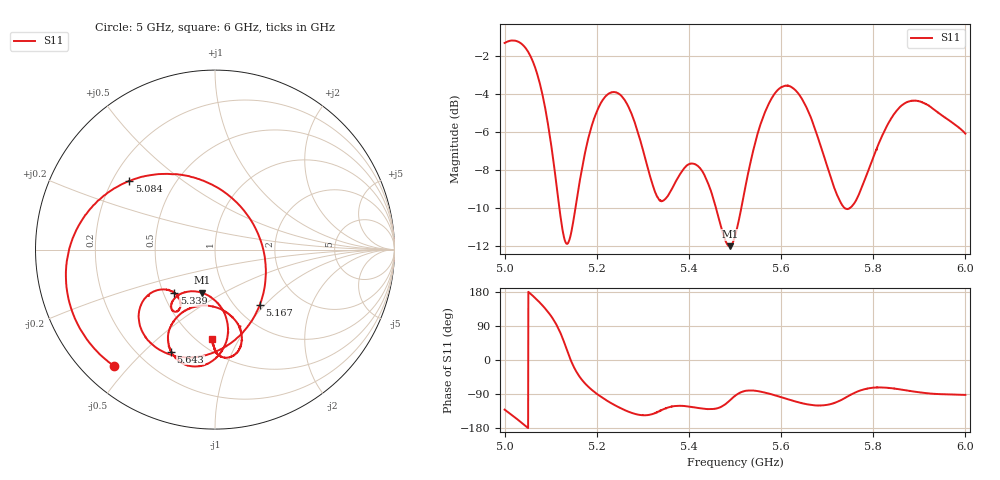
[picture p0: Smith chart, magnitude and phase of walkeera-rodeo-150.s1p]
# HZ S RI R 50
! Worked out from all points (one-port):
!   2020 points, 5 GHz to 6 GHz, reference 50 ohm
!   lowest |S11| = -12.0 dB at 5.489 GHz (marker M1), VSWR 1.67, Z = 38.8 - j19.9 ohm
!   |S11| at or under -10 dB: 5.119 GHz to 5.154 GHz (34.76 MHz wide, 0.677 % of centre); 5.459 GHz to 5.514 GHz (54.88 MHz wide, 1 % of centre); 5.738258 GHz to 5.748376 GHz (10.12 MHz wide, 0.176 % of centre)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
!   S11 on the Smith chart (normalised r, x): 5 GHz: 0.09, -0.45; 5.084 GHz: 0.27, +0.33; 5.167 GHz: 1.28, -0.94; 5.339 GHz: 0.57, -0.31; 5.643 GHz: 0.33, -0.61; 6 GHz: 0.59, -0.77
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5e9  -0.5633 -0.6482
5.02526e9  -0.7829 -0.3776
5.045072e9  -0.8288 -0.0954
5.063893e9  -0.7326 0.1775
5.0842e9  -0.4764 0.3824
5.104507e9  -0.1428 0.4088
5.12531e9  0.1427 0.2398
5.140664e9  0.2581 0.0397
5.166914e9  0.2498 -0.3075
5.187222e9  0.1176 -0.4979
5.207033e9  -0.0546 -0.5889
5.250124e9  -0.3725 -0.507
5.273898e9  -0.4252 -0.3733
5.300149e9  -0.3682 -0.2588
5.338782e9  -0.2257 -0.2426
5.375434e9  -0.1953 -0.325
5.437345e9  -0.24 -0.2917
5.488856e9  -0.0722 -0.2407
5.500248e9  -0.0218 -0.2673
5.551759e9  0.0657 -0.5048
5.590887e9  -0.052 -0.6404
5.625062e9  -0.1969 -0.6245
5.642893e9  -0.2467 -0.5681
5.684002e9  -0.2329 -0.4061
5.750372e9  -0.0103 -0.3168
5.812779e9  0.1418 -0.4481
5.875186e9  0.0939 -0.5948
6.000001e9  -0.018 -0.4959
